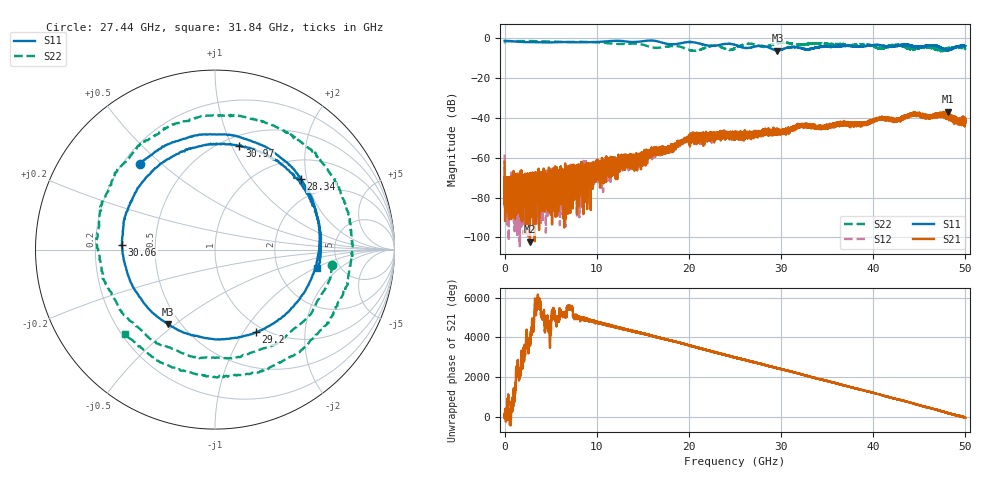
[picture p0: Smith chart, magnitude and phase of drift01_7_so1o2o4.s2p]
!Created with skrf (http://scikit-rf.org).
# Hz S RI R 50.0
!freq ReS11 ImS11 ReS21 ImS21 ReS12 ImS12 ReS22 ImS22
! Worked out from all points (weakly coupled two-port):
!   10001 points, 300 kHz to 50 GHz, reference 50 ohm
!   highest |S21| = -36.95 dB at 48.07 GHz (marker M1); lowest = -102.2 dB at 2.75 GHz (marker M2)
!   lowest |S11| = -6.2 dB at 29.61 GHz (marker M3), VSWR 2.92, Z = 21.5 - j23.4 ohm
!   |S11| at or under -10 dB: nowhere
!   |S22| runs from -6.6 to -1.4 dB; largest |S21 - S12| = 0.004
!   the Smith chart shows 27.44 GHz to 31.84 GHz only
!   S11 on the Smith chart (normalised r, x): 27.44 GHz: 0.27, +0.43; 28.34 GHz: 1.45, +1.84; 29.2 GHz: 0.91, -1.14; 30.06 GHz: 0.32, +0.02; 30.97 GHz: 0.60, +1.07; 31.84 GHz: 3.41, -1.03
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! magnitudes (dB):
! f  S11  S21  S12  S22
! 300 kHz  -1.3  -62.0  -58.4  -2.1
! 255.3 MHz  -1.4  -74.6  -79.0  -1.4
! 2.75 GHz  -2.0  -102.2  -79.9  -1.4
! 6.68 GHz  -1.9  -68.6  -70.9  -1.9
! 8.335 GHz  -2.0  -68.1  -69.7  -1.8
! 16.67 GHz  -1.6  -55.3  -56.4  -4.8
! 18.62 GHz  -2.9  -54.1  -53.6  -3.9
! 20.29 GHz  -1.9  -49.7  -49.4  -6.2
! 22.6 GHz  -3.9  -48.5  -47.4  -3.8
! 25 GHz  -3.3  -48.0  -48.1  -5.1
! 27.44 GHz  -3.9  -47.9  -47.8  -3.6
! 28.34 GHz  -4.2  -47.1  -47.7  -4.2
! 29.2 GHz  -5.8  -46.2  -46.6  -3.1
! 29.61 GHz  -6.2  -46.8  -47.5  -2.5
! 30.06 GHz  -5.7  -47.8  -46.5  -2.3
! 30.97 GHz  -4.5  -46.3  -45.4  -2.5
! 31.84 GHz  -4.7  -43.9  -44.2  -3.2
! 33.34 GHz  -5.2  -44.3  -44.4  -2.7
! 41.67 GHz  -4.3  -40.7  -40.5  -4.2
! 46.49 GHz  -3.6  -39.0  -39.6  -5.4
! 48.07 GHz  -6.0  -36.9  -39.7  -4.8
! 50 GHz  -3.9  -42.2  -40.6  -5.4
